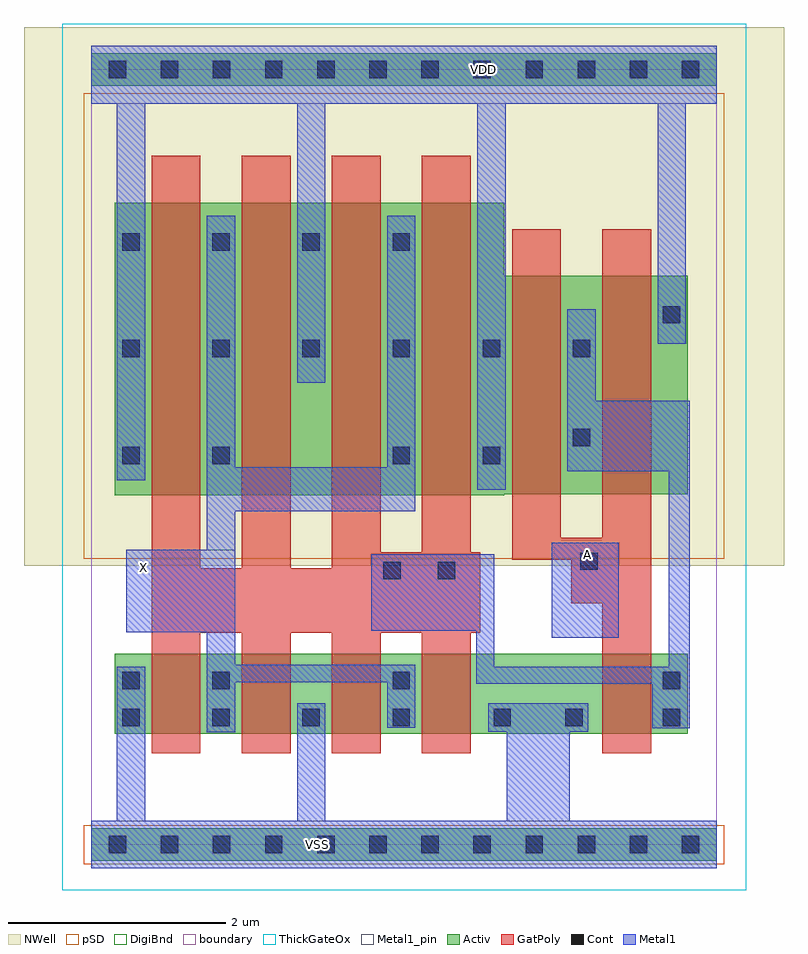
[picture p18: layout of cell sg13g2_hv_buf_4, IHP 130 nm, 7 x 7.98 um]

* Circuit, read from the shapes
.subckt sg13g2_hv_buf_4 A VDD VSS X
XM1 X n1 VSS VSS sg13_hv_nmos w=0.74u l=0.45u m=4
XM2 n1 A VSS VSS sg13_hv_nmos w=0.74u l=0.45u
XM3 X n1 VDD VDD sg13_hv_pmos w=2.69u l=0.45u m=4
XM4 n1 A VDD VDD sg13_hv_pmos w=2.015u l=0.45u m=2
.ends

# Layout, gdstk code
import gdstk
lib = gdstk.Library(unit=1e-6, precision=1e-09)
def R(c, l, rs):  # rectangles x0, y0, x1, y1
    for r in rs: c.add(gdstk.rectangle(r[:2], r[2:], *l))
def A(c, l, x, y, w, h, nx, ny, dx, dy):  # array of equal rectangles
    R(c, l, [(x+i*dx, y+j*dy, x+i*dx+w, y+j*dy+h) for i in range(nx) for j in range(ny)])
def P(c, l, *ps):  # polygons
    for p in ps: c.add(gdstk.Polygon(p, *l))
Activ = (1, 0)
GatPoly = (5, 0)
Cont = (6, 0)
Metal1 = (8, 0)
Metal1_pin = (8, 2)
pSD = (14, 0)
DigiBnd = (16, 0)
NWell = (31, 0)
ThickGateOx = (44, 0)
boundary = (189, 4)

sg13g2_hv_buf_4 = lib.new_cell('sg13g2_hv_buf_4')
R(sg13g2_hv_buf_4, Activ, [(0,-0.15,5.76,0.15), (0.215,1.02,5.495,1.76), (0,6.99,5.76,7.29)])
P(sg13g2_hv_buf_4, Activ, [(0.215,3.22),(0.215,5.91),(3.805,5.91),(3.805,5.24),(5.495,5.24),(5.495,3.225),(3.805,3.225),(3.805,3.22)])
P(sg13g2_hv_buf_4, GatPoly, [(4.705,0.84),(4.705,2.225),(4.42,2.225),(4.42,2.625),(3.875,2.625),(3.875,5.67),(4.325,5.67),(4.325,2.825),(4.705,2.825),(4.705,5.67),(5.155,5.67),(5.155,0.84)],
  [(0.555,0.84),(0.555,6.345),(1.005,6.345),(1.005,2.545),(1.385,2.545),(1.385,6.345),(1.835,6.345),(1.835,2.545),(2.215,2.545),(2.215,6.345),(2.665,6.345),(2.665,2.695),(3.045,2.695),(3.045,6.345),(3.495,6.345),(3.495,2.695),(3.58,2.695),(3.58,1.95),(3.495,1.95),(3.495,0.84),(3.045,0.84),(3.045,1.95),(2.665,1.95),(2.665,0.84),(2.215,0.84),(2.215,1.95),(1.835,1.95),(1.835,0.84),(1.385,0.84),(1.385,1.95),(1.005,1.95),(1.005,0.84)])
A(sg13g2_hv_buf_4, Cont, 0.16, -0.08, 0.16, 0.16, 12, 2, 0.48, 7.14)
A(sg13g2_hv_buf_4, Cont, 0.285, 1.09, 0.16, 0.16, 4, 2, 0.83, 4.38)
A(sg13g2_hv_buf_4, Cont, 0.285, 4.49, 0.16, 0.16, 6, 1, 0.83, 0)
R(sg13g2_hv_buf_4, Cont, [(3.705,1.09,3.865,1.25), (4.365,1.09,4.525,1.25), (5.265,1.09,5.425,1.25), (0.285,1.43,0.445,1.59), (1.115,1.43,1.275,1.59), (2.775,1.43,2.935,1.59), (5.265,1.43,5.425,1.59), (2.69,2.445,2.85,2.605), (3.19,2.445,3.35,2.605), (4.505,2.53,4.665,2.69), (0.285,3.505,0.445,3.665), (1.115,3.505,1.275,3.665), (2.775,3.505,2.935,3.665), (3.605,3.505,3.765,3.665), (4.435,3.67,4.595,3.83), (5.265,4.8,5.425,4.96)])
R(sg13g2_hv_buf_4, Metal1, [(4.24,1.905,4.86,2.78)])
P(sg13g2_hv_buf_4, Metal1, [(1.065,1.035),(1.065,1.955),(0.32,1.955),(0.32,2.715),(1.065,2.715),(1.065,5.79),(1.325,5.79),(1.325,3.475),(2.725,3.475),(2.725,5.79),(2.985,5.79),(2.985,3.07),(1.325,3.07),(1.325,1.655),(2.985,1.655),(2.985,1.075),(2.725,1.075),(2.725,1.495),(1.325,1.495),(1.325,1.035)],
  [(5.165,1.07),(5.165,1.48),(3.545,1.48),(3.545,1.97),(2.58,1.97),(2.58,2.675),(3.71,2.675),(3.71,1.64),(5.32,1.64),(5.32,3.44),(4.385,3.44),(4.385,4.93),(4.645,4.93),(4.645,4.09),(5.51,4.09),(5.51,1.07)],
  [(3.555,3.27),(3.555,6.825),(2.155,6.825),(2.155,4.255),(1.895,4.255),(1.895,6.825),(0.495,6.825),(0.495,3.355),(0.235,3.355),(0.235,6.825),(0,6.825),(0,7.36),(5.76,7.36),(5.76,6.825),(5.475,6.825),(5.475,4.615),(5.215,4.615),(5.215,6.825),(3.815,6.825),(3.815,3.27)],
  [(0,-0.22),(0,0.22),(0.235,0.22),(0.235,1.64),(0.495,1.64),(0.495,0.22),(1.895,0.22),(1.895,1.3),(2.155,1.3),(2.155,0.22),(3.825,0.22),(3.825,1.04),(3.655,1.04),(3.655,1.3),(4.575,1.3),(4.575,1.04),(4.405,1.04),(4.405,0.22),(5.76,0.22),(5.76,-0.22)])
R(sg13g2_hv_buf_4, Metal1_pin, [(0,-0.22,5.76,0.22), (4.24,1.905,4.86,2.78), (0.32,1.955,1.325,2.715), (0,6.825,5.76,7.36)])
R(sg13g2_hv_buf_4, pSD, [(-0.07,-0.18,5.83,0.18), (-0.07,2.635,5.83,6.92)])
R(sg13g2_hv_buf_4, DigiBnd, [(0,0,5.76,7.14)])
R(sg13g2_hv_buf_4, NWell, [(-0.62,2.57,6.38,7.53)])
R(sg13g2_hv_buf_4, ThickGateOx, [(-0.27,-0.42,6.03,7.56)])
R(sg13g2_hv_buf_4, boundary, [(0,0,5.76,7.14)])
sg13g2_hv_buf_4.add(gdstk.Label('X', (0.48,2.555), layer=8, texttype=25))
sg13g2_hv_buf_4.add(gdstk.Label('VSS', (2.08,0), layer=8, texttype=25))
sg13g2_hv_buf_4.add(gdstk.Label('A', (4.57,2.675), layer=8, texttype=25))
sg13g2_hv_buf_4.add(gdstk.Label('VDD', (3.61,7.14), layer=8, texttype=25))

lib.write_gds('sg13g2_hv_buf_4.gds')
